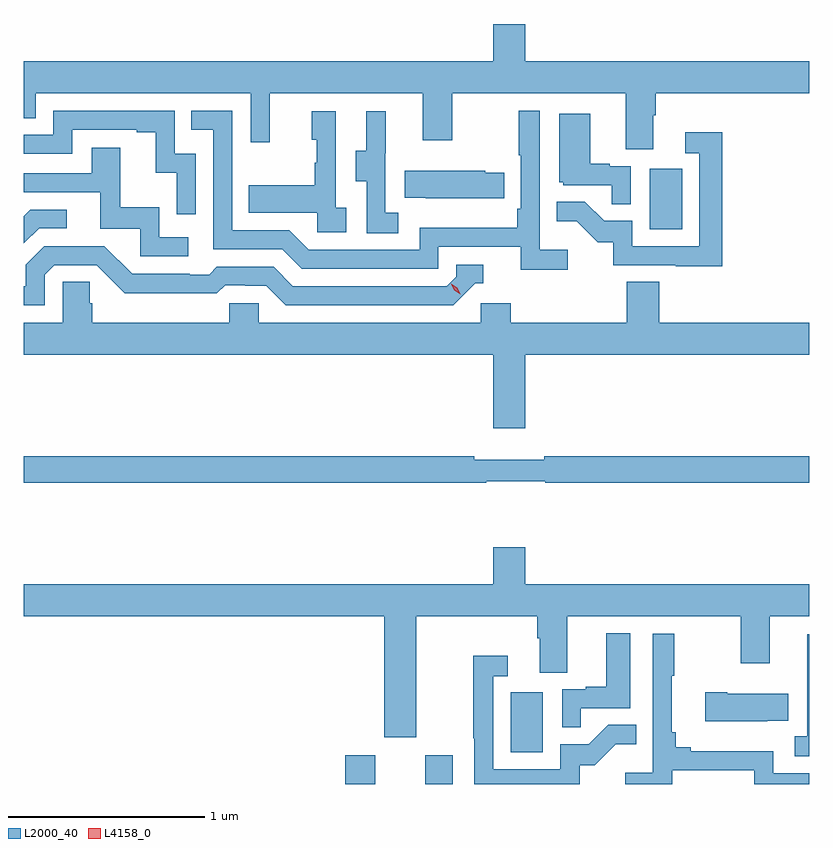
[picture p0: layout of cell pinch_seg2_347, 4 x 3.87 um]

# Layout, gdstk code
import gdstk
lib = gdstk.Library(unit=1e-6, precision=1e-09)
def R(c, l, rs):  # rectangles x0, y0, x1, y1
    for r in rs: c.add(gdstk.rectangle(r[:2], r[2:], *l))
def P(c, l, *ps):  # polygons
    for p in ps: c.add(gdstk.Polygon(p, *l))
L2000_40 = (2000, 40)
L4158_0 = (4158, 0)

pinch_seg2_347 = lib.new_cell('pinch_seg2_347')
R(pinch_seg2_347, L2000_40, [(991.427,624.139,991.579,624.286), (991.835,624.139,991.975,624.286), (992.27,624.3,992.434,624.607), (992.978,626.964,993.142,627.271)])
P(pinch_seg2_347, L2000_40, [(992.995,627.544),(993.008,627.544),(993.008,627.656),(993.79,627.656),(993.79,627.82),(992.344,627.82),(992.344,628.009),(992.18,628.009),(992.18,627.82),(989.79,627.82),(989.79,627.529),(989.85,627.529),(989.85,627.656),(990.945,627.656),(990.945,627.408),(991.043,627.408),(991.043,627.656),(991.823,627.656),(991.823,627.417),(991.971,627.417),(991.971,627.656),(992.855,627.656),(992.855,627.37),(992.995,627.37)],
  [(992.56,626.86),(992.418,626.86),(992.418,627.568),(992.31,627.568),(992.31,627.34),(992.322,627.34),(992.322,627.067),(992.302,627.067),(992.302,626.971),(991.806,626.971),(991.806,626.859),(991.242,626.859),(991.143,626.958),(990.852,626.958),(990.852,627.567),(990.643,627.567),(990.643,627.471),(990.756,627.471),(990.756,626.862),(991.106,626.862),(991.205,626.763),(991.902,626.763),(991.902,626.874),(992.321,626.874),(992.321,626.758),(992.56,626.758)],
  [(990.666,627.348),(990.558,627.348),(990.558,627.567),(989.94,627.567),(989.94,627.444),(989.79,627.444),(989.79,627.348),(990.036,627.348),(990.036,627.471),(990.365,627.471),(990.365,627.459),(990.461,627.459),(990.461,627.251),(990.57,627.251),(990.57,627.039),(990.666,627.039)],
  [(991.432,627.074),(991.38,627.074),(991.38,627.565),(991.256,627.565),(991.256,627.42),(991.282,627.42),(991.282,627.302),(991.272,627.302),(991.272,627.187),(990.937,627.187),(990.937,627.047),(991.284,627.047),(991.284,626.949),(991.432,626.949)],
  [(991.696,627.047),(991.632,627.047),(991.632,627.351),(991.634,627.351),(991.634,627.565),(991.535,627.565),(991.535,627.363),(991.481,627.363),(991.481,627.208),(991.536,627.208),(991.536,626.944),(991.696,626.944)],
  [(992.88,627.285),(992.774,627.285),(992.774,627.298),(992.674,627.298),(992.674,627.553),(992.516,627.553),(992.516,627.204),(992.538,627.204),(992.538,627.189),(992.785,627.189),(992.785,627.091),(992.88,627.091)],
  [(993.347,627.457),(993.159,627.457),(993.159,627.351),(993.231,627.351),(993.231,626.877),(992.889,626.877),(992.889,627.006),(992.745,627.006),(992.647,627.104),(992.503,627.104),(992.503,627.005),(992.607,627.005),(992.714,626.898),(992.791,626.898),(992.791,626.781),(993.109,626.781),(993.109,626.776),(993.347,626.776)],
  [(990.628,626.922),(990.48,626.922),(990.48,627.076),(990.281,627.076),(990.281,627.379),(990.137,627.379),(990.137,627.249),(989.79,627.249),(989.79,627.153),(990.179,627.153),(990.179,626.967),(990.384,626.967),(990.384,626.826),(990.628,626.826)],
  [(992.237,627.252),(992.139,627.252),(992.139,627.262),(991.729,627.262),(991.729,627.125),(991.837,627.125),(991.837,627.122),(992.237,627.122)],
  [(989.868,626.97),(990.01,626.97),(990.01,627.063),(989.822,627.063),(989.79,627.031),(989.79,626.892)],
  [(989.898,626.733),(989.946,626.781),(990.162,626.781),(990.304,626.639),(990.54,626.639),(990.54,626.637),(990.773,626.637),(990.815,626.679),(990.918,626.679),(990.918,626.676),(991.025,626.676),(991.124,626.577),(991.977,626.577),(992.088,626.688),(992.131,626.688),(992.131,626.784),(991.992,626.784),(991.992,626.721),(991.944,626.673),(991.161,626.673),(991.062,626.772),(990.773,626.772),(990.734,626.733),(990.635,626.733),(990.635,626.736),(990.342,626.736),(990.201,626.877),(989.895,626.877),(989.801,626.783),(989.801,626.673),(989.79,626.673),(989.79,626.577),(989.898,626.577)],
  [(992.344,626.324),(993.79,626.324),(993.79,626.488),(993.026,626.488),(993.026,626.696),(992.861,626.696),(992.861,626.488),(992.27,626.488),(992.27,626.586),(992.118,626.586),(992.118,626.488),(990.987,626.488),(990.987,626.586),(990.837,626.586),(990.837,626.488),(990.14,626.488),(990.14,626.586),(990.125,626.586),(990.125,626.696),(989.988,626.696),(989.988,626.488),(989.79,626.488),(989.79,626.324),(992.18,626.324),(992.18,625.95),(992.344,625.95)],
  [(992.145,625.68),(992.445,625.68),(992.445,625.672),(993.79,625.672),(993.79,625.808),(992.44,625.808),(992.44,625.789),(992.084,625.789),(992.084,625.808),(989.79,625.808),(989.79,625.672),(992.145,625.672)],
  [(991.789,624.992),(992.405,624.992),(992.405,624.88),(992.417,624.88),(992.417,624.706),(992.557,624.706),(992.557,624.992),(993.442,624.992),(993.442,624.753),(993.589,624.753),(993.589,624.992),(993.79,624.992),(993.79,625.156),(992.344,625.156),(992.344,625.345),(992.18,625.345),(992.18,625.156),(989.79,625.156),(989.79,624.992),(991.625,624.992),(991.625,624.378),(991.789,624.378)],
  [(992.627,624.525),(992.878,624.525),(992.878,624.907),(992.756,624.907),(992.756,624.634),(992.653,624.634),(992.653,624.621),(992.532,624.621),(992.532,624.427),(992.627,624.427)],
  [(993.092,624.21),(993.51,624.21),(993.51,624.139),(993.79,624.139),(993.79,624.195),(993.606,624.195),(993.606,624.307),(993.187,624.307),(993.187,624.326),(993.11,624.326),(993.11,624.403),(993.091,624.403),(993.091,624.691),(993.103,624.691),(993.103,624.904),(992.994,624.904),(992.994,624.196),(992.853,624.196),(992.853,624.139),(993.092,624.139)],
  [(993.79,624.901),(993.779,624.901),(993.779,624.687),(993.78,624.687),(993.78,624.383),(993.717,624.383),(993.717,624.28),(993.79,624.28)],
  [(992.622,624.234),(992.698,624.234),(992.805,624.341),(992.909,624.341),(992.909,624.44),(992.766,624.44),(992.668,624.342),(992.523,624.342),(992.523,624.213),(992.181,624.213),(992.181,624.687),(992.254,624.687),(992.254,624.793),(992.08,624.793),(992.08,624.373),(992.085,624.373),(992.085,624.139),(992.622,624.139)],
  [(993.575,624.461),(993.683,624.461),(993.683,624.598),(993.373,624.598),(993.373,624.606),(993.261,624.606),(993.261,624.458),(993.575,624.458)])
P(pinch_seg2_347, L4158_0, [(992.014,626.634),(991.983,626.653),(991.967,626.686),(991.967,626.686),(991.967,626.686),(991.998,626.667),(992.014,626.634),(992.014,626.634)])

lib.write_gds('pinch_seg2_347.gds')
